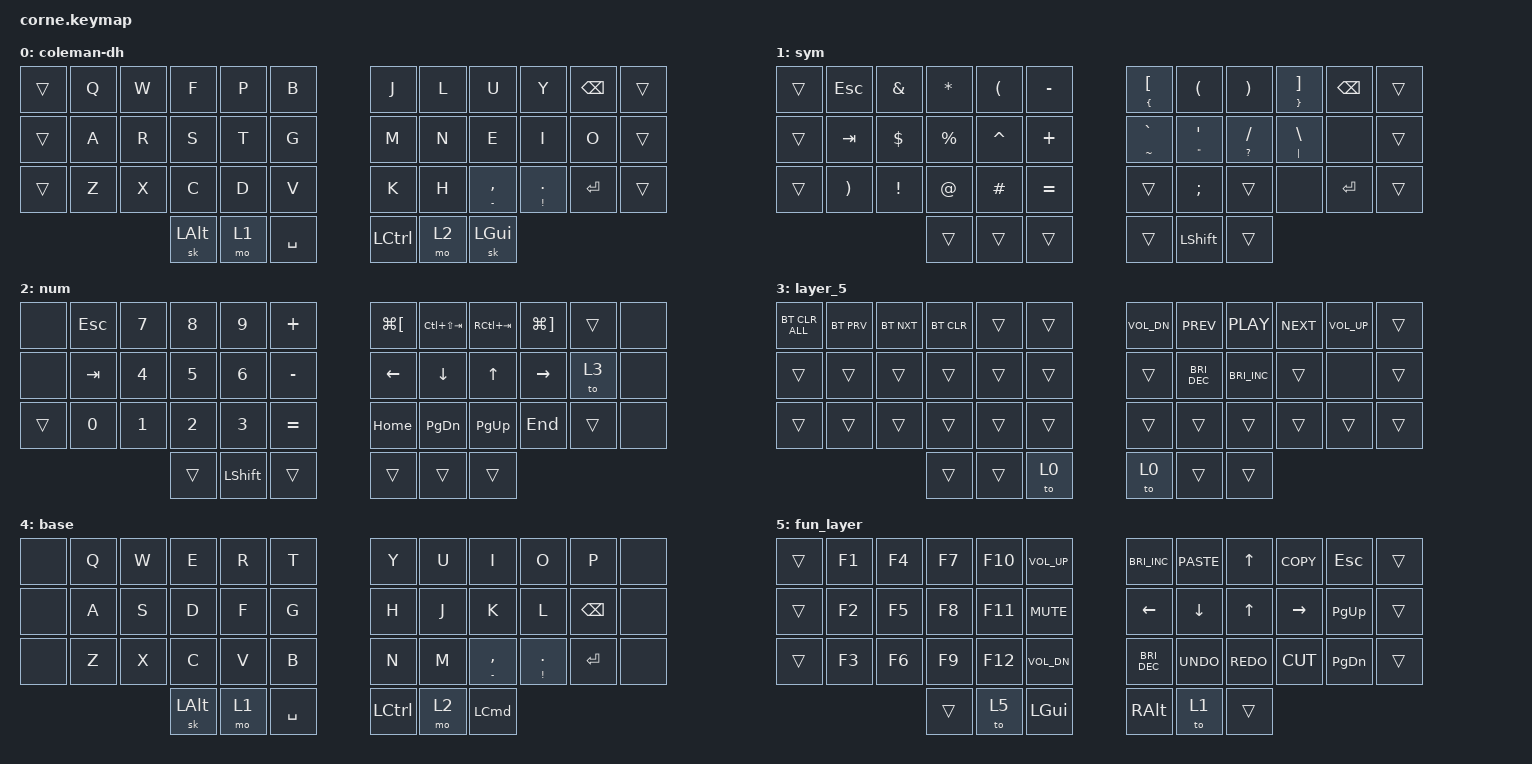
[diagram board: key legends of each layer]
/*
 * Copyright (c) 2020 The ZMK Contributors
 *
 * SPDX-License-Identifier: MIT
 */

#include <behaviors.dtsi>
#include <dt-bindings/zmk/bt.h>
#include <dt-bindings/zmk/keys.h>

&mt {
    tapping-term-ms = <400>;
    quick-tap-ms = <175>;
    require-prior-idle-ms = <150>;
    flavor = "balanced";
};

&lt { tapping-term-ms = <400>; };

/ {
    combos {
        compatible = "zmk,combos";

        escape {
            bindings = <&kp ESCAPE>;
            key-positions = <1 2>;
        };

        backspace {
            bindings = <&kp BACKSPACE>;
            key-positions = <9 10>;
        };

        tab {
            bindings = <&kp TAB>;
            key-positions = <38 25>;
        };

        enter {
            bindings = <&kp ENTER>;
            key-positions = <34 33>;
        };

        altBackspace {
            bindings = <&kp LA(BACKSPACE)>;
            key-positions = <39 22>;
        };

        meh {
            bindings = <&sk LS(LC(LEFT_ALT))>;
            key-positions = <38 39>;
        };

        qwerty {
            bindings = <&tog 4>;
            key-positions = <37 40 13 22>;
        };
    };

    conditional_layers { compatible = "zmk,conditional-layers"; };

    keymap {
        compatible = "zmk,keymap";

        coleman-dh {
            bindings = <
&trans  &kp Q  &kp W  &kp F     &kp P  &kp B        &kp J             &kp L  &kp U            &kp Y                   &kp BACKSPACE  &trans
&trans  &kp A  &kp R  &kp S     &kp T  &kp G        &kp M             &kp N  &kp E            &kp I                   &kp O          &trans
&trans  &kp Z  &kp X  &kp C     &kp D  &kp V        &kp K             &kp H  &mt MINUS COMMA  &mt EXCLAMATION PERIOD  &kp ENTER      &trans
                      &sk LALT  &mo 1  &kp SPACE    &kp LEFT_CONTROL  &mo 2  &sk LGUI
            >;
        };

        sym {
            bindings = <
&trans  &kp ESCAPE             &kp AMPERSAND    &kp ASTERISK  &kp LEFT_PARENTHESIS  &kp MINUS    &mt LEFT_BRACE LEFT_BRACKET  &kp LEFT_PARENTHESIS   &kp RIGHT_PARENTHESIS  &mt RIGHT_BRACE RIGHT_BRACKET  &kp BACKSPACE  &trans
&trans  &kp TAB                &kp DOLLAR       &kp PERCENT   &kp CARET             &kp PLUS     &mt TILDE GRAVE              &mt DOUBLE_QUOTES SQT  &mt QUESTION SLASH     &mt PIPE BACKSLASH             &none          &trans
&trans  &kp RIGHT_PARENTHESIS  &kp EXCLAMATION  &kp AT_SIGN   &kp HASH              &kp EQUAL    &trans                       &kp SEMICOLON          &trans                 &none                          &kp ENTER      &trans
                                                &trans        &trans                &trans       &trans                       &kp LEFT_SHIFT         &trans
            >;
        };

        num {
            bindings = <
&none   &kp ESCAPE  &kp N7  &kp N8  &kp N9          &kp PLUS     &kp LG(LBKT)  &kp LC(LS(TAB))  &kp RC(TAB)   &kp LG(RBKT)  &trans  &none
&none   &kp TAB     &kp N4  &kp N5  &kp NUMBER_6    &kp MINUS    &kp LEFT      &kp DOWN         &kp UP_ARROW  &kp RIGHT     &to 3   &none
&trans  &kp N0      &kp N1  &kp N2  &kp N3          &kp EQUAL    &kp HOME      &kp PG_DN        &kp PG_UP     &kp END       &trans  &none
                            &trans  &kp LEFT_SHIFT  &trans       &trans        &trans           &trans
            >;
        };

        layer_5 {
            bindings = <
&bt BT_CLR_ALL  &bt BT_PRV  &bt BT_NXT  &bt BT_CLR  &trans  &trans    &kp C_VOL_DN  &kp C_PREV            &kp C_PLAY            &kp C_NEXT  &kp C_VOL_UP  &trans
&trans          &trans      &trans      &trans      &trans  &trans    &trans        &kp C_BRIGHTNESS_DEC  &kp C_BRIGHTNESS_INC  &trans      &none         &trans
&trans          &trans      &trans      &trans      &trans  &trans    &trans        &trans                &trans                &trans      &trans        &trans
                                        &trans      &trans  &to 0     &to 0         &trans                &trans
            >;
        };

        base {
            bindings = <
&none  &kp Q  &kp W  &kp E         &kp R  &kp T        &kp Y             &kp U  &kp I             &kp O                   &kp P          &none
&none  &kp A  &kp S  &kp D         &kp F  &kp G        &kp H             &kp J  &kp K             &kp L                   &kp BACKSPACE  &none
&none  &kp Z  &kp X  &kp C         &kp V  &kp B        &kp N             &kp M  &mt MINUS COMMA   &mt EXCLAMATION PERIOD  &kp ENTER      &none
                     &sk LEFT_ALT  &mo 1  &kp SPACE    &kp LEFT_CONTROL  &mo 2  &kp LEFT_COMMAND
            >;
        };

        fun_layer {
            bindings = <
&trans  &kp F1  &kp F4  &kp F7  &kp F10  &kp C_VOL_UP    &kp C_BRIGHTNESS_INC  &kp K_PASTE     &kp UP_ARROW  &kp K_COPY  &kp ESC        &trans
&trans  &kp F2  &kp F5  &kp F8  &kp F11  &kp C_MUTE      &kp LEFT              &kp DOWN_ARROW  &kp UP_ARROW  &kp RIGHT   &kp PG_UP      &trans
&trans  &kp F3  &kp F6  &kp F9  &kp F12  &kp C_VOL_DN    &kp C_BRIGHTNESS_DEC  &kp K_UNDO      &kp K_REDO    &kp K_CUT   &kp PAGE_DOWN  &trans
                        &trans  &to 5    &kp LEFT_GUI    &kp RIGHT_ALT         &to 1           &trans
            >;
        };
    };
};
